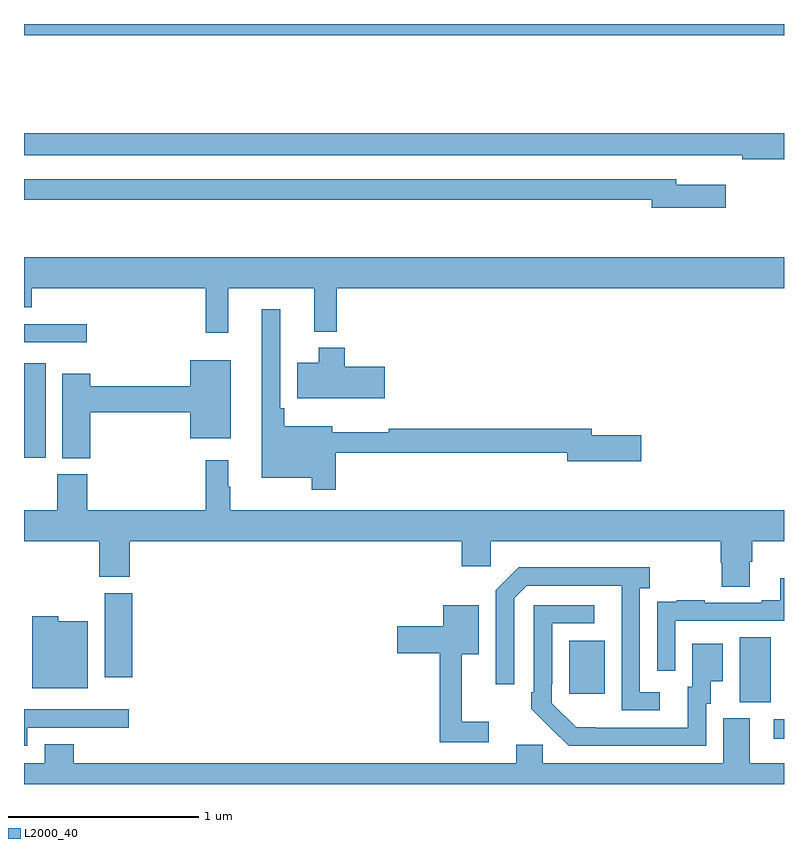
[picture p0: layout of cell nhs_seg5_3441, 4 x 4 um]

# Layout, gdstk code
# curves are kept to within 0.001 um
import gdstk
lib = gdstk.Library(unit=1e-6, precision=1e-09)
def R(c, l, rs):  # rectangles x0, y0, x1, y1
    for r in rs: c.add(gdstk.rectangle(r[:2], r[2:], *l))
def P(c, l, *ps):  # polygons
    for p in ps: c.add(gdstk.Polygon(p, *l))
L2000_40 = (2000, 40)

nhs_seg5_3441 = lib.new_cell('nhs_seg5_3441')
R(nhs_seg5_3441, L2000_40, [(316.947,873.036,317,873.141), (316.766,873.229,316.93,873.572), (315.869,873.273,316.057,873.553), (313.424,873.36,313.571,873.804), (313,874.515,313.114,875.014), (313,875.124,313.33,875.22), (313,876.74,317,876.799)])
P(nhs_seg5_3441, L2000_40, [(317,876.224),(313,876.224),(313,876.108),(316.528,876.108),(316.528,876.107),(316.78,876.107),(316.78,876.088),(317,876.088)],
  [(316.693,875.953),(316.432,875.953),(316.432,875.982),(313,875.982),(313,875.874),(316.304,875.874),(316.304,875.831),(316.693,875.831)],
  [(314.075,875.408),(314.528,875.408),(314.528,875.18),(314.645,875.18),(314.645,875.408),(317,875.408),(317,875.572),(313,875.572),(313,875.309),(313.04,875.309),(313.04,875.408),(313.957,875.408),(313.957,875.175),(314.075,875.175)],
  [(314.642,874.542),(315.86,874.542),(315.86,874.499),(316.249,874.499),(316.249,874.634),(315.988,874.634),(315.988,874.67),(314.919,874.67),(314.919,874.651),(314.623,874.651),(314.623,874.681),(314.369,874.681),(314.369,874.777),(314.349,874.777),(314.349,875.299),(314.252,875.299),(314.252,874.412),(314.514,874.412),(314.514,874.347),(314.642,874.347)],
  [(314.899,874.995),(314.687,874.995),(314.687,875.095),(314.552,875.095),(314.552,875.017),(314.438,875.017),(314.438,874.829),(314.899,874.829)],
  [(313.349,874.756),(313.874,874.756),(313.874,874.619),(314.089,874.619),(314.089,875.029),(313.874,875.029),(313.874,874.892),(313.349,874.892),(313.349,874.957),(313.202,874.957),(313.202,874.513),(313.349,874.513)],
  [(316.819,873.97),(316.832,873.97),(316.832,874.076),(317,874.076),(317,874.24),(314.086,874.24),(314.086,874.364),(314.074,874.364),(314.074,874.504),(313.957,874.504),(313.957,874.24),(313.334,874.24),(313.334,874.428),(313.174,874.428),(313.174,874.24),(313,874.24),(313,874.076),(313.396,874.076),(313.396,873.889),(313.556,873.889),(313.556,874.076),(315.305,874.076),(315.305,873.945),(315.456,873.945),(315.456,874.076),(316.667,874.076),(316.667,873.963),(316.672,873.963),(316.672,873.838),(316.819,873.838)],
  [(316.345,873.282),(316.242,873.282),(316.242,873.83),(316.294,873.83),(316.294,873.94),(315.604,873.94),(315.483,873.819),(315.483,873.324),(315.579,873.324),(315.579,873.777),(315.645,873.843),(316.146,873.843),(316.146,873.186),(316.345,873.186)],
  [(316.428,873.657),(317,873.657),(317,873.883),(316.979,873.883),(316.979,873.766),(316.883,873.766),(316.883,873.753),(316.583,873.753),(316.583,873.766),(316.435,873.766),(316.435,873.759),(316.333,873.759),(316.333,873.65),(316.332,873.65),(316.332,873.396),(316.428,873.396)],
  [(316.59,873.222),(316.615,873.222),(316.615,873.341),(316.678,873.341),(316.678,873.538),(316.517,873.538),(316.517,873.312),(316.493,873.312),(316.493,873.096),(315.906,873.097),(315.777,873.225),(315.777,873.325),(315.78,873.325),(315.78,873.645),(316,873.645),(316,873.741),(315.684,873.741),(315.684,873.283),(315.669,873.283),(315.669,873.195),(315.866,873),(316.59,873)],
  [(315.445,873.127),(315.305,873.127),(315.305,873.482),(315.394,873.482),(315.394,873.739),(315.206,873.739),(315.206,873.63),(314.964,873.63),(314.964,873.488),(315.187,873.488),(315.187,873.018),(315.445,873.018)],
  [(313.336,873.655),(313.179,873.655),(313.179,873.682),(313.043,873.682),(313.043,873.302),(313.336,873.302)],
  [(313.017,873.096),(313.552,873.096),(313.552,873.192),(313,873.192),(313,873),(313.017,873)],
  [(313.262,873.007),(313.109,873.007),(313.109,872.908),(313,872.908),(313,872.799),(317,872.799),(317,872.908),(316.819,872.908),(316.819,873.144),(316.679,873.144),(316.679,872.908),(315.729,872.908),(315.729,873.006),(315.59,873.006),(315.59,872.908),(313.262,872.908)])

lib.write_gds('nhs_seg5_3441.gds')
